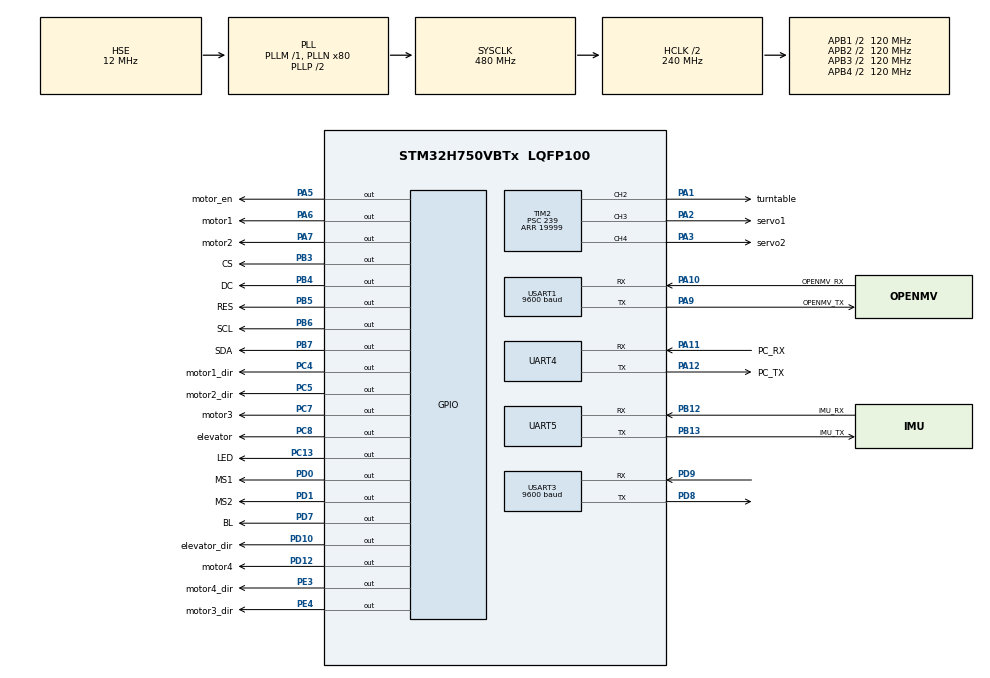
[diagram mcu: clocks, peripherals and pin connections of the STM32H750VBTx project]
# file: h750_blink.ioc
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Mcu.Family=STM32H7
Mcu.Name=STM32H750VBTx
Mcu.Package=LQFP100
NVIC.PriorityGroup=NVIC_PRIORITYGROUP_3
NVIC.UART5_IRQn=true\:0\:0\:false\:false\:true\:true\:true\:true
NVIC.USART1_IRQn=true\:0\:1\:true\:false\:true\:true\:true\:true
NVIC.USART3_IRQn=true\:2\:0\:true\:false\:true\:true\:true\:true
PA1.GPIO_Label=turntable
PA1.Signal=S_TIM2_CH2
PA10.GPIO_Label=OPENMV_RX
PA10.Mode=Asynchronous
PA10.Signal=USART1_RX
PA11.GPIO_Label=PC_RX
PA11.Mode=Asynchronous
PA11.Signal=UART4_RX
PA12.GPIO_Label=PC_TX
PA12.Mode=Asynchronous
PA12.Signal=UART4_TX
PA13\ (JTMS/SWDIO).Mode=Serial_Wire
PA13\ (JTMS/SWDIO).Signal=DEBUG_JTMS-SWDIO
PA14\ (JTCK/SWCLK).Mode=Serial_Wire
PA14\ (JTCK/SWCLK).Signal=DEBUG_JTCK-SWCLK
PA2.GPIO_Label=servo1
PA2.Signal=S_TIM2_CH3
PA3.GPIO_Label=servo2
PA3.Signal=S_TIM2_CH4
PA5.GPIO_Label=motor_en
PA5.GPIO_Speed=GPIO_SPEED_FREQ_LOW
PA5.Signal=GPIO_Output
PA6.GPIO_Label=motor1
PA6.Signal=GPIO_Output
PA7.GPIO_Label=motor2
PA7.Signal=GPIO_Output
PA9.GPIO_Label=OPENMV_TX
PA9.Mode=Asynchronous
PA9.Signal=USART1_TX
PB12.GPIO_Label=IMU_RX
PB12.Mode=Asynchronous
PB12.Signal=UART5_RX
PB13.GPIO_Label=IMU_TX
PB13.Mode=Asynchronous
PB13.Signal=UART5_TX
PB3\ (JTDO/TRACESWO).GPIO_Label=CS
PB3\ (JTDO/TRACESWO).GPIO_Speed=GPIO_SPEED_FREQ_LOW
PB3\ (JTDO/TRACESWO).Signal=GPIO_Output
PB4\ (NJTRST).GPIO_Label=DC
PB4\ (NJTRST).GPIO_Speed=GPIO_SPEED_FREQ_LOW
PB4\ (NJTRST).Signal=GPIO_Output
PB5.GPIO_Label=RES
PB5.GPIO_Speed=GPIO_SPEED_FREQ_LOW
PB5.Signal=GPIO_Output
PB6.GPIO_Label=SCL
PB6.GPIO_Speed=GPIO_SPEED_FREQ_LOW
PB6.Signal=GPIO_Output
PB7.GPIO_Label=SDA
PB7.GPIO_Speed=GPIO_SPEED_FREQ_LOW
PB7.Signal=GPIO_Output
PC13.GPIO_Label=LED
PC13.Signal=GPIO_Output
PC4.GPIO_Label=motor1_dir
PC4.Signal=GPIO_Output
PC5.GPIO_Label=motor2_dir
PC5.Signal=GPIO_Output
PC7.GPIO_Label=motor3
PC7.Signal=GPIO_Output
PC8.GPIO_Label=elevator
PC8.Signal=GPIO_Output
PD0.GPIO_Label=MS1
PD0.PinState=GPIO_PIN_SET
PD0.Signal=GPIO_Output
PD1.GPIO_Label=MS2
PD1.Signal=GPIO_Output
PD10.GPIO_Label=elevator_dir
PD10.Signal=GPIO_Output
PD12.GPIO_Label=motor4
PD12.Signal=GPIO_Output
PD7.GPIO_Label=BL
PD7.GPIO_Speed=GPIO_SPEED_FREQ_LOW
PD7.Signal=GPIO_Output
PD8.Mode=Asynchronous
PD8.Signal=USART3_TX
PD9.Mode=Asynchronous
PD9.Signal=USART3_RX
PE3.GPIO_Label=motor4_dir
PE3.Signal=GPIO_Output
PE4.GPIO_Label=motor3_dir
PE4.Signal=GPIO_Output
PH0-OSC_IN\ (PH0).Mode=HSE-External-Oscillator
PH0-OSC_IN\ (PH0).Signal=RCC_OSC_IN
PH1-OSC_OUT\ (PH1).Mode=HSE-External-Oscillator
PH1-OSC_OUT\ (PH1).Signal=RCC_OSC_OUT
ProjectManager.HeapSize=0x200
ProjectManager.StackSize=0x400
ProjectManager.TargetToolchain=STM32CubeIDE
RCC.ADCFreq_Value=24187500
RCC.APB1Freq_Value=120000000
RCC.APB2Freq_Value=120000000
RCC.APB3Freq_Value=120000000
RCC.APB4Freq_Value=120000000
RCC.CortexFreq_Value=480000000
RCC.D1PPRE=RCC_APB3_DIV2
RCC.D2PPRE1=RCC_APB1_DIV2
RCC.D2PPRE2=RCC_APB2_DIV2
RCC.D3PPRE=RCC_APB4_DIV2
RCC.DIVM1=1
RCC.DIVN1=80
RCC.HCLKFreq_Value=240000000
RCC.HPRE=RCC_HCLK_DIV2
RCC.HSE_VALUE=12000000
RCC.PLLFRACN=0
RCC.PLLSourceVirtual=RCC_PLLSOURCE_HSE
RCC.SYSCLKFreq_VALUE=480000000
RCC.SYSCLKSource=RCC_SYSCLKSOURCE_PLLCLK
RCC.USBFreq_Value=480000000
SH.S_TIM2_CH2.0=TIM2_CH2,PWM Generation2 CH2
SH.S_TIM2_CH3.0=TIM2_CH3,PWM Generation3 CH3
SH.S_TIM2_CH4.0=TIM2_CH4,PWM Generation4 CH4
TIM2.AutoReloadPreload=TIM_AUTORELOAD_PRELOAD_ENABLE
TIM2.Channel-PWM\ Generation2\ CH2=TIM_CHANNEL_2
TIM2.Channel-PWM\ Generation3\ CH3=TIM_CHANNEL_3
TIM2.Channel-PWM\ Generation4\ CH4=TIM_CHANNEL_4
TIM2.Period=19999
TIM2.Prescaler=239
USART1.BaudRate=9600
USART1.VirtualMode-Asynchronous=VM_ASYNC
USART3.BaudRate=9600
USART3.VirtualMode-Asynchronous=VM_ASYNC
board=custom

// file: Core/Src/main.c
/* USER CODE BEGIN Header */
/**
  ******************************************************************************
  * @file           : main.c
  * @brief          : Main program body
  ******************************************************************************
  * @attention
  *
  * Copyright (c) 2024 STMicroelectronics.
  * All rights reserved.
  *
  * This software is licensed under terms that can be found in the LICENSE file
  * in the root directory of this software component.
  * If no LICENSE file comes with this software, it is provided AS-IS.
  *
  ******************************************************************************
  */
/* USER CODE END Header */
#include "main.h"
#include "tim.h"
#include "usart.h"
#include "gpio.h"

/* USER CODE BEGIN PD */

//ƽ���з�??
void turnleft_pid(void);
void car_right_pid(unsigned int gom);
void car_left_pid(unsigned int gom);
void normal_pid(float target_data);
/* USER CODE END PD */

/* USER CODE BEGIN PV */
//?????????��????

//??????????����

//??????????����

/* USER CODE END PV */

void SystemClock_Config(void);
/* USER CODE BEGIN PFP */
uint8_t USART1_RXbuff[20];
uint8_t code[3];
uint8_t IMU_RxBuffer[4];
uint8_t QRCODE[6];
//int16_t error_k230_x;
//int16_t error_k230_y;
union un{
    uint8_t buff[4];
    float data;
};
union un IMU_data;
 float initial_angel;
/* USER CODE END PFP */

/* USER CODE BEGIN 0 */
uint8_t color;
volatile uint16_t X=0;
volatile uint16_t Y=0;

uint16_t r;
uint8_t motionflag;
uint8_t k230_RxBuffer[1];   //????????????
uint16_t RxLine = 0;   //?????��??
uint8_t DataBuff[200]; //????????

float last_data,error_data,delta_data;
float expect_data=90.00;
float k230_kp=0.5;
/* USER CODE END 0 */

int main(void)
{

  /* MCU Configuration--------------------------------------------------------*/

  /* Reset of all peripherals, Initializes the Flash interface and the Systick. */
  HAL_Init();

  /* Configure the system clock */
  SystemClock_Config();

  /* Initialize all configured peripherals */
  MX_GPIO_Init();
  LCD_Init();
  MX_UART4_Init();
  MX_TIM2_Init();
  MX_USART1_UART_Init();
  MX_USART3_UART_Init();
  MX_UART5_Init();
  /* USER CODE BEGIN 2 */
    // HAL_TIM_PWM_Start(&htim2,TIM_CHANNEL_4);
    HAL_UART_Receive_IT(&huart1,(uint8_t *)USART1_RXbuff, 7);
    HAL_UART_Receive_IT(&huart3,(uint8_t *)k230_RxBuffer, 1);
    HAL_UART_Receive_IT(&huart5,(uint8_t *)IMU_RxBuffer, 4);

    HAL_TIM_PWM_Start(&htim2,TIM_CHANNEL_3);
    HAL_TIM_PWM_Start(&htim2,TIM_CHANNEL_4);
    RetargetInit(&huart4);

    //HAL_TIM_PWM_Start(&htim2,TIM_CHANNEL_3);
    delay_init(480);
    HAL_GPIO_WritePin(motor3_dir_GPIO_Port,motor3_dir_Pin,SET);
    HAL_GPIO_WritePin(motor4_dir_GPIO_Port,motor4_dir_Pin,SET);
    delay_ms(1000);
  /* USER CODE END 2 */

  /* Infinite loop */
  /* USER CODE BEGIN WHILE */
//    QRCODE[0]=3;
//    QRCODE[1]=2;
//    QRCODE[2]=1;
    while (1) {

    /* USER CODE END WHILE */

    /* USER CODE BEGIN 3 */

        LCD_DrawLine(80, 40, 80, 80);//????+
        LCD_DrawLine(70, 60, 90, 60);

        delay_ms(3000);
        position0;
        while (QRCODE[0] == 0);//�ȴ���ά��ʶ��
//        while (color != QRCODE[0]);
//////      {
//////      // printf("color:%d\n",color);
//////      }
//        servo_open;
//        microposition(&X, &Y);
//        fistpick();
        for(;;);
        servo_open;
        initial_angel = IMU_data.data;

        car_left_pid(1000);
        normal_pid(0);

//        while (QRCODE[0] == 0)//�ȴ���ά��ʶ��
//        {
//            microforward(1);
//        }

        gotarget_s(4800);
        gotarget_s(4425);
        normal_pid(0);
        car_right_pid(400);
        normal_pid(0);

        while (color != QRCODE[0]);
//      {
//      // printf("color:%d\n",color);
//      }

        microposition(&X, &Y);
        fistpick();
        switch (QRCODE[0]) {
            case 1:
                layin1();
//                position1;
                break;
            case 2:
                layin2();
//                position2;
                break;
            case 3:
                layin3();
//                position3;
                break;
        }

        position0;
        delay_ms(100);
        for (uint8_t i = 1; i < 3; i++) {
            while (color != QRCODE[i]);

            fistpick();
            switch (QRCODE[i]) {
                case 1:
                    layin1();
//                    position1;
                    break;
                case 2:
                    layin2();
//                    position2;
                    break;
                case 3:
                    layin3();
//                    position3;
                    break;
            }

            position0;
            delay_ms(100);
        }

        car_left_pid(400);
        normal_pid(0);

        gotarget_s(2560);
        normal_pid(0);

        turnleft(2060);
        normal_pid(90);
        initial_angel = IMU_data.data;

        gotarget_s(4850);
        normal_pid(0);
        car_right_pid(800);
        normal_pid(0);

        if (QRCODE[0] == 1 && QRCODE[1] == 2 && QRCODE[2] == 3) {
            microposition(&X, &Y);
            layout1();
            normal_pid(0);
            gotarget_s(950);
            microposition(&X, &Y);
            layout2();
            normal_pid(0);
            gotarget_s(950);
            microposition(&X, &Y);
            layout3();
            normal_pid(0);
            gotarget_s_back(1900);
            microposition(&X, &Y);
            fistpick();
            layin1();
            position0;
            normal_pid(0);
            gotarget_s(950);
            fistpick();
            layin2();
            position0;
            normal_pid(0);
            gotarget_s(950);
            fistpick();
            layin3();
            position0;
        }

        if (QRCODE[0] == 1 && QRCODE[1] == 3 && QRCODE[2] == 2) {
            microposition(&X, &Y);
            layout1();
            normal_pid(0);
            gotarget_s(1900);
            microposition(&X, &Y);
            layout3();
            normal_pid(0);
            gotarget_s_back(950);
            microposition(&X, &Y);
            layout2();
            normal_pid(0);
            gotarget_s_back(950);
            microposition(&X, &Y);
            fistpick();
            layin1();
            position0;
            normal_pid(0);
            gotarget_s(1900);
            microposition(&X, &Y);
            fistpick();
            layin3();
            position0;
            normal_pid(0);
            gotarget_s_back(950);
            microposition(&X, &Y);
            fistpick();
            layin2();
            position0;
            normal_pid(0);
            gotarget_s(950);
        }

        if (QRCODE[0] == 2 && QRCODE[1] == 1 && QRCODE[2] == 3) {
            microposition(&X, &Y);
            normal_pid(0);
            gotarget_s(950);
            microposition(&X, &Y);
            layout2();
            normal_pid(0);
            gotarget_s_back(950);
            microposition(&X, &Y);
            layout1();
            normal_pid(0);
            gotarget_s(1900);
            microposition(&X, &Y);
            layout3();
            normal_pid(0);
            gotarget_s_back(950);
            microposition(&X, &Y);
            fistpick();
            layin2();
            position0;
            normal_pid(0);
            gotarget_s_back(950);
            microposition(&X, &Y);
            fistpick();
            layin1();
            position0;
            normal_pid(0);
            gotarget_s(1900);
            microposition(&X, &Y);
            fistpick();
            layin3();
            position0;
        }

        if (QRCODE[0] == 2 && QRCODE[1] == 3 && QRCODE[2] == 1) {
            microposition(&X, &Y);
            normal_pid(0);
            gotarget_s(950);
            microposition(&X, &Y);
            layout2();
            normal_pid(0);
            gotarget_s(950);
            microposition(&X, &Y);
            layout3();
            normal_pid(0);
            gotarget_s_back(1900);
            microposition(&X, &Y);
            layout1();
            normal_pid(0);
            gotarget_s(950);
            microposition(&X, &Y);
            fistpick();
            layin2();
            position0;
            normal_pid(0);
            gotarget_s(950);
            microposition(&X, &Y);
            fistpick();
            layin3();
            position0;
            normal_pid(0);
            gotarget_s_back(1900);
            microposition(&X, &Y);
            fistpick();
            layin1();
            position0;
            normal_pid(0);
            gotarget_s(1900);

        }

        if (QRCODE[0] == 3 && QRCODE[1] == 1 && QRCODE[2] == 2) {
            microposition(&X, &Y);
            normal_pid(0);
            gotarget_s(1900);
            microposition(&X, &Y);
            layout3();
            normal_pid(0);
            gotarget_s_back(1900);
            microposition(&X, &Y);
            layout1();
            normal_pid(0);
            gotarget_s(950);
            microposition(&X, &Y);
            layout2();
            normal_pid(0);
            gotarget_s(950);
            microposition(&X, &Y);
            fistpick();
            layin3();
            position0;
            normal_pid(0);
            gotarget_s_back(1900);
            microposition(&X, &Y);
            fistpick();
            layin1();
            position0;
            normal_pid(0);
            gotarget_s(950);
            microposition(&X, &Y);
            fistpick();
            layin2();
            position0;
            normal_pid(0);
            gotarget_s(950);
        }

        if (QRCODE[0] == 3 && QRCODE[1] == 2 && QRCODE[2] == 1) {
            microposition(&X, &Y);
            normal_pid(0);
            gotarget_s(1900);
            microposition(&X, &Y);
            layout3();
            normal_pid(0);
            gotarget_s_back(950);
            microposition(&X, &Y);
            layout2();
            normal_pid(0);
            gotarget_s_back(950);
            microposition(&X, &Y);
            layout1();
            normal_pid(0);
            gotarget_s(1900);
            microposition(&X, &Y);
            fistpick();
            layin3();
            position0;
            normal_pid(0);
            gotarget_s_back(950);
            microposition(&X, &Y);
            fistpick();
            layin2();
            position0;
            normal_pid(0);
            gotarget_s_back(950);
            microposition(&X, &Y);
            fistpick();
            layin1();
            position0;
            normal_pid(0);
            gotarget_s(1900);

        }

        car_left_pid(800);
        normal_pid(0);
        gotarget_s(3800);
        normal_pid(0);
        turnleft_pid();
        normal_pid(90);
        initial_angel=IMU_data.data;
        gotarget_s(4000);
        normal_pid(0);
        car_right_pid(300);
        normal_pid(0);

        if (QRCODE[0] == 1 && QRCODE[1] == 2 && QRCODE[2] == 3) {
            microposition(&X, &Y);
            layout1();
            normal_pid(0);
            gotarget_s(950);
            microposition(&X, &Y);
            layout2();
            normal_pid(0);
            gotarget_s(950);
            microposition(&X, &Y);
            layout3();
            normal_pid(0);
            gotarget_s_back(1900);
        }

        if (QRCODE[0] == 1 && QRCODE[1] == 3 && QRCODE[2] == 2) {
            microposition(&X, &Y);
            layout1();
            normal_pid(0);
            gotarget_s(1900);
            microposition(&X, &Y);
            layout3();
            normal_pid(0);
            gotarget_s_back(950);
            microposition(&X, &Y);
            layout2();
            normal_pid(0);
            gotarget_s_back(950);

        }

        if (QRCODE[0] == 2 && QRCODE[1] == 1 && QRCODE[2] == 3) {
            microposition(&X, &Y);
            normal_pid(0);
            gotarget_s(950);
            microposition(&X, &Y);
            layout2();
            normal_pid(0);
            gotarget_s_back(950);
            microposition(&X, &Y);
            layout1();
            normal_pid(0);
            gotarget_s(1900);
            microposition(&X, &Y);
            layout3();
            normal_pid(0);
            gotarget_s_back(1900);

        }

        if (QRCODE[0] == 2 && QRCODE[1] == 3 && QRCODE[2] == 1) {
            microposition(&X, &Y);
            normal_pid(0);
            gotarget_s(950);
            microposition(&X, &Y);
            layout2();
            normal_pid(0);
            gotarget_s(950);
            microposition(&X, &Y);
            layout3();
            normal_pid(0);
            gotarget_s_back(1900);
            microposition(&X, &Y);
            layout1();

        }

        if (QRCODE[0] == 3 && QRCODE[1] == 1 && QRCODE[2] == 2) {
            microposition(&X, &Y);
            normal_pid(0);
            gotarget_s(1900);
            microposition(&X, &Y);
            layout3();
            normal_pid(0);
            gotarget_s_back(1900);
            microposition(&X, &Y);
            layout1();
            normal_pid(0);
            gotarget_s(950);
            microposition(&X, &Y);
            layout2();
            normal_pid(0);
            gotarget_s_back(950);
        }

        if (QRCODE[0] == 3 && QRCODE[1] == 2 && QRCODE[2] == 1) {
            microposition(&X, &Y);
            normal_pid(0);
            gotarget_s(1900);
            microposition(&X, &Y);
            layout3();
            normal_pid(0);
            gotarget_s_back(950);
            microposition(&X, &Y);
            layout2();
            normal_pid(0);
            gotarget_s_back(950);
            microposition(&X, &Y);
            layout1();

        }

        car_left_pid(300);
        normal_pid(0);
        gotarget_s_back(4000);
        normal_pid(0);
        turnright(2070);
        delay_ms(100);
        normal_pid(90);
        initial_angel=IMU_data.data;

        gotarget_s_back(10550);
        normal_pid(0);
        turnright(2070);
        delay_ms(100);
        normal_pid(90);
        initial_angel=IMU_data.data;
        gotarget_s_back(2560);
        normal_pid(0);
        car_right_pid(400);

        while (color != QRCODE[4]);
//      {
//      // printf("color:%d\n",color);
//      }

        microposition(&X, &Y);
        fistpick();
        switch (QRCODE[4]) {
            case 1:
                layin1();
//                position1;
                break;
            case 2:
                layin2();
//                position2;
                break;
            case 3:
                layin3();
//                position3;
                break;
        }

        position0;
        delay_ms(100);
        for (uint8_t i = 5; i < 7; i++) {
            while (color != QRCODE[i]);

            fistpick();
            switch (QRCODE[i]) {
                case 1:
                    layin1();
//                    position1;
                    break;
                case 2:
                    layin2();
//                    position2;
                    break;
                case 3:
                    layin3();
//                    position3;
                    break;
            }

            position0;
            delay_ms(100);
        }

        car_left_pid(400);
        normal_pid(0);

        gotarget_s(2560);
        normal_pid(0);

        turnleft(2060);
        normal_pid(90);
        initial_angel = IMU_data.data;

        gotarget_s(4850);
        normal_pid(0);
        car_right_pid(800);
        normal_pid(0);

        if (QRCODE[0] == 1 && QRCODE[1] == 2 && QRCODE[2] == 3) {
            microposition(&X, &Y);
            layout1();
            normal_pid(0);
            gotarget_s(950);
            microposition(&X, &Y);
            layout2();
            normal_pid(0);
            gotarget_s(950);
            microposition(&X, &Y);
            layout3();
            normal_pid(0);
            gotarget_s_back(1900);
            microposition(&X, &Y);
            fistpick();
            layin1();
            position0;
            normal_pid(0);
            gotarget_s(950);
            fistpick();
            layin2();
            position0;
            normal_pid(0);
            gotarget_s(950);
            fistpick();
            layin3();
            position0;
        }

        if (QRCODE[0] == 1 && QRCODE[1] == 3 && QRCODE[2] == 2) {
            microposition(&X, &Y);
            layout1();
            normal_pid(0);
            gotarget_s(1900);
            microposition(&X, &Y);
            layout3();
            normal_pid(0);
            gotarget_s_back(950);
            microposition(&X, &Y);
            layout2();
            normal_pid(0);
            gotarget_s_back(950);
            microposition(&X, &Y);
            fistpick();
            layin1();
            position0;
            normal_pid(0);
            gotarget_s(1900);
            microposition(&X, &Y);
            fistpick();
            layin3();
            position0;
            normal_pid(0);
            gotarget_s_back(950);
            microposition(&X, &Y);
            fistpick();
            layin2();
            position0;
            normal_pid(0);
            gotarget_s(950);
        }

        if (QRCODE[0] == 2 && QRCODE[1] == 1 && QRCODE[2] == 3) {
            microposition(&X, &Y);
            normal_pid(0);
            gotarget_s(950);
            microposition(&X, &Y);
            layout2();
            normal_pid(0);
            gotarget_s_back(950);
            microposition(&X, &Y);
            layout1();
            normal_pid(0);
            gotarget_s(1900);
            microposition(&X, &Y);
            layout3();
            normal_pid(0);
            gotarget_s_back(950);
            microposition(&X, &Y);
            fistpick();
            layin2();
            position0;
            normal_pid(0);
            gotarget_s_back(950);
            microposition(&X, &Y);
            fistpick();
            layin1();
            position0;
            normal_pid(0);
            gotarget_s(1900);
            microposition(&X, &Y);
            fistpick();
            layin3();
            position0;
        }

        if (QRCODE[0] == 2 && QRCODE[1] == 3 && QRCODE[2] == 1) {
            microposition(&X, &Y);
            normal_pid(0);
            gotarget_s(950);
            microposition(&X, &Y);
            layout2();
            normal_pid(0);
            gotarget_s(950);
            microposition(&X, &Y);
            layout3();
            normal_pid(0);
            gotarget_s_back(1900);
            microposition(&X, &Y);
            layout1();
            normal_pid(0);
            gotarget_s(950);
            microposition(&X, &Y);
            fistpick();
            layin2();
            position0;
            normal_pid(0);
            gotarget_s(950);
            microposition(&X, &Y);
            fistpick();
            layin3();
            position0;
            normal_pid(0);
            gotarget_s_back(1900);
            microposition(&X, &Y);
            fistpick();
            layin1();
            position0;
            normal_pid(0);
            gotarget_s(1900);

        }

        if (QRCODE[0] == 3 && QRCODE[1] == 1 && QRCODE[2] == 2) {
            microposition(&X, &Y);
            normal_pid(0);
            gotarget_s(1900);
            microposition(&X, &Y);
            layout3();
            normal_pid(0);
            gotarget_s_back(1900);
            microposition(&X, &Y);
            layout1();
            normal_pid(0);
            gotarget_s(950);
            microposition(&X, &Y);
            layout2();
            normal_pid(0);
            gotarget_s(950);
            microposition(&X, &Y);
            fistpick();
            layin3();
            position0;
            normal_pid(0);
            gotarget_s_back(1900);
            microposition(&X, &Y);
            fistpick();
            layin1();
            position0;
            normal_pid(0);
            gotarget_s(950);
            microposition(&X, &Y);
            fistpick();
            layin2();
            position0;
            normal_pid(0);
            gotarget_s(950);
        }

        if (QRCODE[0] == 3 && QRCODE[1] == 2 && QRCODE[2] == 1) {
            microposition(&X, &Y);
            normal_pid(0);
            gotarget_s(1900);
            microposition(&X, &Y);
            layout3();
            normal_pid(0);
            gotarget_s_back(950);
            microposition(&X, &Y);
            layout2();
            normal_pid(0);
            gotarget_s_back(950);
            microposition(&X, &Y);
            layout1();
            normal_pid(0);
            gotarget_s(1900);
            microposition(&X, &Y);
            fistpick();
            layin3();
            position0;
            normal_pid(0);
            gotarget_s_back(950);
            microposition(&X, &Y);
            fistpick();
            layin2();
            position0;
            normal_pid(0);
            gotarget_s_back(950);
            microposition(&X, &Y);
            fistpick();
            layin1();
            position0;
            normal_pid(0);
            gotarget_s(1900);

        }

        car_left_pid(800);
        normal_pid(0);
        gotarget_s(3800);
        normal_pid(0);
        turnleft_pid();
        normal_pid(90);
        initial_angel=IMU_data.data;
        gotarget_s(4000);
        normal_pid(0);
        car_right_pid(300);
        normal_pid(0);

        if (QRCODE[0] == 1 && QRCODE[1] == 2 && QRCODE[2] == 3) {
            microposition(&X, &Y);
            layout1();
            normal_pid(0);
            gotarget_s(950);
            microposition(&X, &Y);
            layout2();
            normal_pid(0);
            gotarget_s(950);
            microposition(&X, &Y);
            layout3();
            normal_pid(0);
            gotarget_s_back(1900);
        }

        if (QRCODE[0] == 1 && QRCODE[1] == 3 && QRCODE[2] == 2) {
            microposition(&X, &Y);
            layout1();
            normal_pid(0);
            gotarget_s(1900);
            microposition(&X, &Y);
            layout3();
            normal_pid(0);
            gotarget_s_back(950);
            microposition(&X, &Y);
            layout2();
            normal_pid(0);
            gotarget_s_back(950);

        }

        if (QRCODE[0] == 2 && QRCODE[1] == 1 && QRCODE[2] == 3) {
            microposition(&X, &Y);
            normal_pid(0);
            gotarget_s(950);
            microposition(&X, &Y);
            layout2();
            normal_pid(0);
            gotarget_s_back(950);
            microposition(&X, &Y);
            layout1();
            normal_pid(0);
            gotarget_s(1900);
            microposition(&X, &Y);
            layout3();
            normal_pid(0);
            gotarget_s_back(1900);

        }

        if (QRCODE[0] == 2 && QRCODE[1] == 3 && QRCODE[2] == 1) {
            microposition(&X, &Y);
            normal_pid(0);
            gotarget_s(950);
            microposition(&X, &Y);
            layout2();
            normal_pid(0);
            gotarget_s(950);
            microposition(&X, &Y);
            layout3();
            normal_pid(0);
            gotarget_s_back(1900);
            microposition(&X, &Y);
            layout1();

        }

        if (QRCODE[0] == 3 && QRCODE[1] == 1 && QRCODE[2] == 2) {
            microposition(&X, &Y);
            normal_pid(0);
            gotarget_s(1900);
            microposition(&X, &Y);
            layout3();
            normal_pid(0);
            gotarget_s_back(1900);
            microposition(&X, &Y);
            layout1();
            normal_pid(0);
            gotarget_s(950);
            microposition(&X, &Y);
            layout2();
            normal_pid(0);
            gotarget_s_back(950);
        }

        if (QRCODE[0] == 3 && QRCODE[1] == 2 && QRCODE[2] == 1) {
            microposition(&X, &Y);
            normal_pid(0);
            gotarget_s(1900);
            microposition(&X, &Y);
            layout3();
            normal_pid(0);
            gotarget_s_back(950);
            microposition(&X, &Y);
            layout2();
            normal_pid(0);
            gotarget_s_back(950);
            microposition(&X, &Y);
            layout1();

        }

        car_left_pid(300);
        normal_pid(0);

        gotarget_s(6000);
        turnleft_pid();
        normal_pid(90);
        initial_angel=IMU_data.data;
        gotarget_s(11000);
        normal_pid(0);

    }

  /* USER CODE END 3 */
}

void SystemClock_Config(void)
{
  RCC_OscInitTypeDef RCC_OscInitStruct = {0};
  RCC_ClkInitTypeDef RCC_ClkInitStruct = {0};

  /** Supply configuration update enable
  */
  HAL_PWREx_ConfigSupply(PWR_LDO_SUPPLY);

  /** Configure the main internal regulator output voltage
  */
  __HAL_PWR_VOLTAGESCALING_CONFIG(PWR_REGULATOR_VOLTAGE_SCALE1);

  while(!__HAL_PWR_GET_FLAG(PWR_FLAG_VOSRDY)) {}

  __HAL_RCC_SYSCFG_CLK_ENABLE();
  __HAL_PWR_VOLTAGESCALING_CONFIG(PWR_REGULATOR_VOLTAGE_SCALE0);

  while(!__HAL_PWR_GET_FLAG(PWR_FLAG_VOSRDY)) {}

  /** Initializes the RCC Oscillators according to the specified parameters
  * in the RCC_OscInitTypeDef structure.
  */
  RCC_OscInitStruct.OscillatorType = RCC_OSCILLATORTYPE_HSE;
  RCC_OscInitStruct.HSEState = RCC_HSE_ON;
  RCC_OscInitStruct.PLL.PLLState = RCC_PLL_ON;
  RCC_OscInitStruct.PLL.PLLSource = RCC_PLLSOURCE_HSE;
  RCC_OscInitStruct.PLL.PLLM = 1;
  RCC_OscInitStruct.PLL.PLLN = 80;
  RCC_OscInitStruct.PLL.PLLP = 2;
  RCC_OscInitStruct.PLL.PLLQ = 2;
  RCC_OscInitStruct.PLL.PLLR = 2;
  RCC_OscInitStruct.PLL.PLLRGE = RCC_PLL1VCIRANGE_3;
  RCC_OscInitStruct.PLL.PLLVCOSEL = RCC_PLL1VCOWIDE;
  RCC_OscInitStruct.PLL.PLLFRACN = 0;
  if (HAL_RCC_OscConfig(&RCC_OscInitStruct) != HAL_OK)
  {
    Error_Handler();
  }

  /** Initializes the CPU, AHB and APB buses clocks
  */
  RCC_ClkInitStruct.ClockType = RCC_CLOCKTYPE_HCLK|RCC_CLOCKTYPE_SYSCLK
                              |RCC_CLOCKTYPE_PCLK1|RCC_CLOCKTYPE_PCLK2
                              |RCC_CLOCKTYPE_D3PCLK1|RCC_CLOCKTYPE_D1PCLK1;
  RCC_ClkInitStruct.SYSCLKSource = RCC_SYSCLKSOURCE_PLLCLK;
  RCC_ClkInitStruct.SYSCLKDivider = RCC_SYSCLK_DIV1;
  RCC_ClkInitStruct.AHBCLKDivider = RCC_HCLK_DIV2;
  RCC_ClkInitStruct.APB3CLKDivider = RCC_APB3_DIV2;
  RCC_ClkInitStruct.APB1CLKDivider = RCC_APB1_DIV2;
  RCC_ClkInitStruct.APB2CLKDivider = RCC_APB2_DIV2;
  RCC_ClkInitStruct.APB4CLKDivider = RCC_APB4_DIV2;

  if (HAL_RCC_ClockConfig(&RCC_ClkInitStruct, FLASH_LATENCY_4) != HAL_OK)
  {
    Error_Handler();
  }
}

/* USER CODE BEGIN 4 */

uint16_t data_Integer_calculate(uint8_t data_Integer_len, uint8_t data_Start_Num) {
    // ????????????
    uint16_t data_return = 0;			 // ????????
    if(data_Integer_len != 0)//?????????��
    {
        if (data_Integer_len == 1)
        {
            data_return  = (DataBuff[data_Start_Num] - 48);
        }
        else if (data_Integer_len == 2)
        {
            data_return = (DataBuff[data_Start_Num] - 48) * 10 + (DataBuff[data_Start_Num + 1] - 48);
        }
        else if (data_Integer_len == 3)
        {
            data_return = (DataBuff[data_Start_Num] - 48) * 100 + (DataBuff[data_Start_Num + 1] - 48)*10 +
                          (DataBuff[data_Start_Num + 2] - 48);
        }
        else if (data_Integer_len == 4)
        {
            data_return = (DataBuff[data_Start_Num] - 48) * 1000 + (DataBuff[data_Start_Num + 1] - 48)*100 +
                          (DataBuff[data_Start_Num + 3] - 48) * 10 + (DataBuff[data_Start_Num + 4] - 48);
        }
    }
    return data_return;  // ��???????????????????

}
void Get_Data(void)
{

    uint8_t data_X_S = 0;
    uint8_t data_X_E = 0;
    uint8_t data_X_len = 0;
    uint8_t data_Y_S = 0;
    uint8_t data_Y_E = 0;
    uint8_t data_Y_len = 0;
    uint8_t data_r_S = 0;
    uint8_t data_r_E = 0;  // ???????��??????
    uint8_t data_r_len = 0;

    // ?��????????????????????????????
    for (uint8_t i = 0; i < 200; i++)
    {
        if (DataBuff[i] == 'h') // ????h?��????????����??????
            color = DataBuff[i + 1] - '0';

        else if(DataBuff[i] == 'x')
        {
            data_X_S = i + 1;
        }
        else if(DataBuff[i] == 'y')
        {
            data_X_E = i - 1;
            data_Y_S = i + 1;
        }
        else if(DataBuff[i] == 'r')
        {
            data_Y_E = i - 1;
            data_r_S = i + 1;
        }
        else if (DataBuff[i] == 'i')
        {
            data_r_E = i - 1;;  // ???????????��????????����???????��????
            break;
        }
    }

    data_X_len = data_X_E - data_X_S + 1;
    data_Y_len = data_Y_E - data_Y_S + 1;
    data_r_len = data_r_E - data_r_S + 1;
    X = data_Integer_calculate(data_X_len, data_X_S);
    Y = data_Integer_calculate(data_Y_len, data_Y_S);
    r = data_Integer_calculate(data_r_len, data_r_S);
    printf("%d,%d,%d,%d\r\n", color,X,Y, r);
}
void turnleft_pid(void){

    last_data = initial_angel;
    turnleft(2060);
    delay_ms(100);
    delta_data = IMU_data.data - last_data;
    if (last_data > 0 && IMU_data.data < 0 &&  delta_data<-180) {
        delta_data += 360;//�����Խ0�ȵ�����
    }
    error_data = delta_data - expect_data;//�������

    while ((error_data > 0.5 || error_data < -0.5)) {
        if(motionflag) {
            motionflag = 0;
            if (error_data > 0) {
                //microturnright(5);
                microturnright(error_data * 10);
            } else {
                //microturnleft(5);
                microturnleft((-error_data) * 10);
            }

            //printf("error_data��%f\n", error_data);
        }
        delta_data = IMU_data.data - last_data;//����
        if (last_data > 0 && IMU_data.data < 0 && delta_data<-180) {
            delta_data += 360;//�����Խ0�ȵ�����
        }
        error_data = delta_data - expect_data;//�������
    }
}

void normal_pid(float target_data) {
    last_data = initial_angel + target_data;
    delta_data = IMU_data.data - last_data;
    if (last_data > 0 && IMU_data.data < 0 && delta_data<-180) {
        delta_data += 360;//�����Խ0�ȵ�����
    }
    error_data = delta_data;//�������
    while (error_data > 0.1 || error_data < -0.1) {
        if (motionflag) {
            motionflag = 0;
            printf("%f\n",error_data);
            if (error_data > 0) {
                //microturnright(5);
                microturnright(error_data * 12);
            } else {
                //microturnleft(5);
                microturnleft((-error_data) * 12);
            }
            //printf("error_data��%f\n", error_data);
        }
        delta_data = IMU_data.data - last_data;//����
        if (last_data > 0 && IMU_data.data < 0 && delta_data<-180) {
            delta_data += 360;//�����Խ0�ȵ�����
        }
        error_data = delta_data;//�������
    }
}
void car_right_pid(unsigned int gom){
    last_data = IMU_data.data;
    car_right(gom);
    delta_data = IMU_data.data - last_data;
    if (last_data > 0 && IMU_data.data < 0) {
        delta_data += 360;//�����Խ0�ȵ�����
    }
    error_data = delta_data;//�������
    while ((error_data > 0.1 || error_data < -0.1)) {
        if(motionflag) {
            motionflag = 0;
            if (error_data > 0) {
                //microturnright(5);
                microturnright(error_data * 10);
            } else {
                //microturnleft(5);
                microturnleft((-error_data) * 10);
            }

        }
        delta_data = IMU_data.data - last_data;//����
        if (last_data > 0 && IMU_data.data < 0 && delta_data<-180) {
            delta_data += 360;//�����Խ0�ȵ�����
        }
        error_data = delta_data;//�������
        //printf("error_data��%f\n", error_data);
    }
}
void car_left_pid(unsigned int gom){
    last_data = IMU_data.data;
    car_left(gom);
    delta_data = IMU_data.data - last_data;
    if (last_data > 0 && IMU_data.data < 0) {
        delta_data += 360;//�����Խ0�ȵ�����
    }
    error_data = delta_data;//�������
    while ((error_data > 0.1 || error_data < -0.1)) {
        if(motionflag) {
            motionflag = 0;
            if (error_data > 0) {
                //microturnright(5);
                microturnright(error_data * 10);
            } else {
                //microturnleft(5);
                microturnleft((-error_data) * 10);
            }

        }
        delta_data = IMU_data.data - last_data;//����
        if (last_data > 0 && IMU_data.data < 0&&delta_data<-180) {
            delta_data += 360;//�����Խ0�ȵ�����
        }
        error_data = delta_data;//�������
        //printf("error_data��%f\n", error_data);
    }
}
// ???????????????��????

void HAL_UART_RxCpltCallback(UART_HandleTypeDef *huart)
{
    if (huart->Instance == USART1)//openmvʶ�𵽶�ά��
    {
        code[0]=USART1_RXbuff[0]-48;
        code[1]=USART1_RXbuff[1]-48;

        code[2]=USART1_RXbuff[2]-48;
        if(USART1_RXbuff[0]-48 == 1)
        {
            LCD_DrawLine(10, 20, 10, 100);//????1
            if(USART1_RXbuff[1]-48 == 2)
            {
                QRCODE[0]=1;
                QRCODE[1]=2;
                QRCODE[2]=3;

                LCD_DrawLine(20, 20, 35, 20);//????2
                LCD_DrawLine(35, 20, 35, 60);
                LCD_DrawLine(20, 60, 35, 60);
                LCD_DrawLine(20, 60, 20, 100);
                LCD_DrawLine(20, 100, 35, 100);
                LCD_DrawLine(45, 20, 60, 20);//????3
                LCD_DrawLine(60, 20, 60, 60);
                LCD_DrawLine(45, 60, 60, 60);
                LCD_DrawLine(60, 60, 60, 100);
                LCD_DrawLine(45, 100, 60, 100);
            }
            if(USART1_RXbuff[1]-48 == 3)
            {
                QRCODE[0]=1;
                QRCODE[1]=3;
                QRCODE[2]=2;

                LCD_DrawLine(20, 20, 35, 20);//????2
                LCD_DrawLine(35, 20, 35, 60);
                LCD_DrawLine(20, 60, 35, 60);
                LCD_DrawLine(35, 60, 35, 100);
                LCD_DrawLine(20, 100, 35, 100);
                LCD_DrawLine(45, 20, 60, 20);//????3
                LCD_DrawLine(60, 20, 60, 60);
                LCD_DrawLine(45, 60, 60, 60);
                LCD_DrawLine(45, 60, 45, 100);
                LCD_DrawLine(45, 100, 60, 100);
            }

        }
        if(USART1_RXbuff[0]-48 == 2)
        {
            LCD_DrawLine(10, 20, 25, 20);//????2
            LCD_DrawLine(25, 20, 25, 60);
            LCD_DrawLine(10, 60, 25, 60);
            LCD_DrawLine(10, 60, 10, 100);
            LCD_DrawLine(10, 100, 25, 100);
            if(USART1_RXbuff[1]-48 == 1)
            {
                QRCODE[0]=2;
                QRCODE[1]=1;
                QRCODE[2]=3;

                LCD_DrawLine(35, 20, 35, 100);//????1
                LCD_DrawLine(45, 20, 60, 20);//????3
                LCD_DrawLine(60, 20, 60, 60);
                LCD_DrawLine(45, 60, 60, 60);
                LCD_DrawLine(60, 60, 60, 100);
                LCD_DrawLine(45, 100, 60, 100);
            }
            if(USART1_RXbuff[1]-48 == 3)
            {
                QRCODE[0]=2;
                QRCODE[1]=3;
                QRCODE[2]=1;

                LCD_DrawLine(60, 20, 60, 100);//????1
                LCD_DrawLine(35, 20, 50, 20);//????3
                LCD_DrawLine(50, 20, 50, 60);
                LCD_DrawLine(35, 60, 50, 60);
                LCD_DrawLine(50, 60, 50, 100);
                LCD_DrawLine(35, 100, 50, 100);
            }
        }
        if(USART1_RXbuff[0]-48 == 3)
        {
            LCD_DrawLine(10, 20, 25, 20);//????3
            LCD_DrawLine(25, 20, 25, 60);
            LCD_DrawLine(10, 60, 25, 60);
            LCD_DrawLine(25, 60, 25, 100);
            LCD_DrawLine(10, 100,25, 100);
            if(USART1_RXbuff[1]-48 == 1)
            {
                QRCODE[0]=3;
                QRCODE[1]=1;
                QRCODE[2]=2;

                LCD_DrawLine(35, 20, 35, 100);//????1
                LCD_DrawLine(45, 20, 60, 20);//????2
                LCD_DrawLine(60, 20, 60, 60);
                LCD_DrawLine(45, 60, 60, 60);
                LCD_DrawLine(45, 60, 45, 100);
                LCD_DrawLine(45, 100, 60, 100);
            }
            if(USART1_RXbuff[1]-48 == 2)
            {
                QRCODE[0]=3;
                QRCODE[1]=2;
                QRCODE[2]=1;

                LCD_DrawLine(60, 20, 60, 100);//????1
                LCD_DrawLine(35, 20, 50, 20);//????2
                LCD_DrawLine(50, 20, 50, 60);
                LCD_DrawLine(35, 60, 50, 60);
                LCD_DrawLine(35, 60, 35, 100);
                LCD_DrawLine(35, 100, 50, 100);
            }
        }

        if(USART1_RXbuff[4]-48 == 1)
        {
            LCD_DrawLine(10+90, 20, 10+90, 100);//????1
            if(USART1_RXbuff[5]-48 == 2)
            {
                QRCODE[3]=1;
                QRCODE[4]=2;
                QRCODE[5]=3;

                LCD_DrawLine(20+90, 20, 35+90, 20);//????2
                LCD_DrawLine(35+90, 20, 35+90, 60);
                LCD_DrawLine(20+90, 60, 35+90, 60);
                LCD_DrawLine(20+90, 60, 20+90, 100);
                LCD_DrawLine(20+90, 100, 35+90, 100);
                LCD_DrawLine(45+90, 20, 60+90, 20);//????3
                LCD_DrawLine(60+90, 20, 60+90, 60);
                LCD_DrawLine(45+90, 60, 60+90, 60);
                LCD_DrawLine(60+90, 60, 60+90, 100);
                LCD_DrawLine(45+90, 100, 60+90, 100);
            }
            if(USART1_RXbuff[5]-48 == 3)
            {
                QRCODE[3]=1;
                QRCODE[4]=3;
                QRCODE[5]=2;

                LCD_DrawLine(20+90, 20, 35+90, 20);//????2
                LCD_DrawLine(35+90, 20, 35+90, 60);
                LCD_DrawLine(20+90, 60, 35+90, 60);
                LCD_DrawLine(35+90, 60, 35+90, 100);
                LCD_DrawLine(20+90, 100, 35+90, 100);
                LCD_DrawLine(45+90, 20, 60+90, 20);//????3
                LCD_DrawLine(60+90, 20, 60+90, 60);
                LCD_DrawLine(45+90, 60, 60+90, 60);
                LCD_DrawLine(45+90, 60, 45+90, 100);
                LCD_DrawLine(45+90, 100, 60+90, 100);
            }

        }
        if(USART1_RXbuff[4]-48 == 2)
        {
            LCD_DrawLine(10+90, 20, 25+90, 20);//????2
            LCD_DrawLine(25+90, 20, 25+90, 60);
            LCD_DrawLine(10+90, 60, 25+90, 60);
            LCD_DrawLine(10+90, 60, 10+90, 100);
            LCD_DrawLine(10+90, 100, 25+90, 100);
            if(USART1_RXbuff[5]-48 == 1)
            {
                QRCODE[3]=2;
                QRCODE[4]=1;
                QRCODE[5]=3;

                LCD_DrawLine(35+90, 20, 35+90, 100);//????1
                LCD_DrawLine(45+90, 20, 60+90, 20);//????3
                LCD_DrawLine(60+90, 20, 60+90, 60);
                LCD_DrawLine(45+90, 60, 60+90, 60);
                LCD_DrawLine(60+90, 60, 60+90, 100);
                LCD_DrawLine(45+90, 100, 60+90, 100);
            }
            if(USART1_RXbuff[5]-48 == 3)
            {
                QRCODE[3]=2;
                QRCODE[4]=3;
                QRCODE[5]=1;

                LCD_DrawLine(60+90, 20, 60+90, 100);//????1
                LCD_DrawLine(35+90, 20, 50+90, 20);//????3
                LCD_DrawLine(50+90, 20, 50+90, 60);
                LCD_DrawLine(35+90, 60, 50+90, 60);
                LCD_DrawLine(50+90, 60, 50+90, 100);
                LCD_DrawLine(35+90, 100, 50+90, 100);
            }
        }
        if(USART1_RXbuff[4]-48 == 3)
        {
            LCD_DrawLine(10+90, 20, 25+90, 20);//????3
            LCD_DrawLine(25+90, 20, 25+90, 60);
            LCD_DrawLine(10+90, 60, 25+90, 60);
            LCD_DrawLine(25+90, 60, 25+90, 100);
            LCD_DrawLine(10+90, 100,25+90, 100);
            if(USART1_RXbuff[5]-48 == 1)
            {
                QRCODE[3]=3;
                QRCODE[4]=1;
                QRCODE[5]=2;

                LCD_DrawLine(35+90, 20, 35+90, 100);//????1
                LCD_DrawLine(45+90, 20, 60+90, 20);//????2
                LCD_DrawLine(60+90, 20, 60+90, 60);
                LCD_DrawLine(45+90, 60, 60+90, 60);
                LCD_DrawLine(45+90, 60, 45+90, 100);
                LCD_DrawLine(45+90, 100, 60+90, 100);
            }
            if(USART1_RXbuff[5]-48 == 2)
            {
                QRCODE[3]=3;
                QRCODE[4]=2;
                QRCODE[5]=1;

                LCD_DrawLine(60+90, 20, 60+90, 100);//????1
                LCD_DrawLine(35+90, 20, 50+90, 20);//????2
                LCD_DrawLine(50+90, 20, 50+90, 60);
                LCD_DrawLine(35+90, 60, 50+90, 60);
                LCD_DrawLine(35+90, 60, 35+90, 100);
                LCD_DrawLine(35+90, 100, 50+90, 100);
            }
        }
        LCD_DrawLine(80, 40, 80, 80);//????+
        LCD_DrawLine(70, 60, 90, 60);

        //HAL_UART_Receive_IT(&huart1,(uint8_t *)USART1_RXbuff, 7);
    }
    if (huart->Instance == USART3)  // ??????��???????2?��?��??????
    {

        RxLine++;                        // ???????????????????????��????1
        DataBuff[RxLine - 1] = k230_RxBuffer[0];  // ????????????????????????����

        if (k230_RxBuffer[0] == 'i')         // ??????��????????��??����???��??????0x21???????????��???????��????????
        {
              // ?????????????????��??

            Get_Data();  // ????????????????????��????��????????????????1?????��???????��????????
            memset(DataBuff, 0, sizeof(DataBuff));  // ????????????
            RxLine = 0;  // ?????????��??????
        }

        k230_RxBuffer[0] = 0;  // ????????????
        HAL_UART_Receive_IT(&huart3, (uint8_t *)k230_RxBuffer, 1);  // ??????????????????????????��???

    }

    if (huart->Instance == UART5)  // IMU
    {
        IMU_data.buff[0] = IMU_RxBuffer[0];
        IMU_data.buff[1] = IMU_RxBuffer[1];
        IMU_data.buff[2] = IMU_RxBuffer[2];
        IMU_data.buff[3] = IMU_RxBuffer[3];
        motionflag = 1;
        printf("IMU_data:%f\n",IMU_data.data);
        HAL_UART_Receive_IT(&huart5, (uint8_t *)IMU_RxBuffer, 4);  // ??????????????????????????��???
    }
}

/* USER CODE END 4 */

void Error_Handler(void)
{
    __disable_irq();
    while (1)
    {
    }
}
